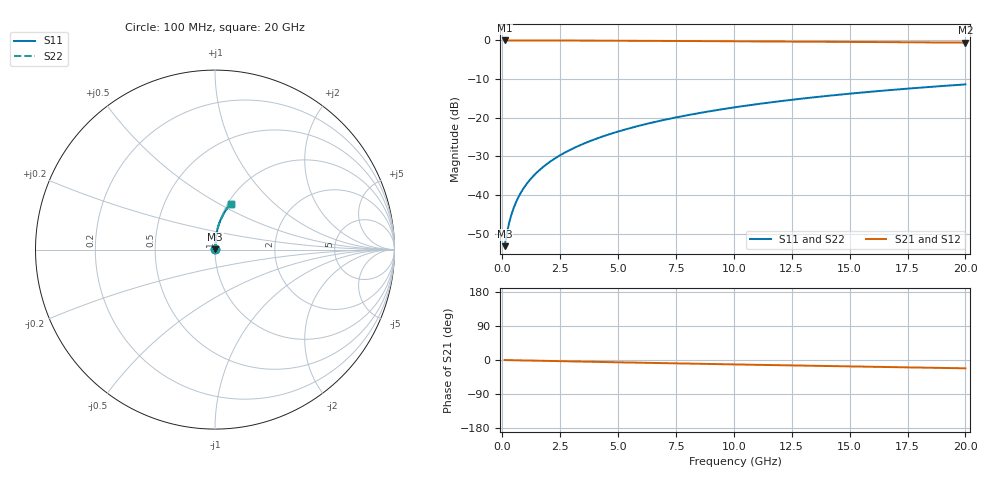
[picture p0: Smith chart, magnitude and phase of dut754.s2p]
! Touchstone file exported from HFSS 2024.1.0
!  File:  C:/UserFiles/LocalFiles/RDL_TSV_Batchsim/temp_RDL_bottom_754_1779859898.aedt
!  Generated:  01:34:24 PM May 27, 2026
!  Design:  RDL_bottom
!  Project:  temp_RDL_bottom_754_1779859898
!  Setup:  Setup1
!  Solution:  Sweep
! Variables:
!  dtsv = 10.80580581um
!  hbump = 3um
!  htsv = 70.56um
!  ldown = 238.83um
!  lrdl = 100um
!  p = 40
!  p1 = 57.18um
!  rhole = 1um
!  t = 450um
!  tdown = 3.18um
!  trdl = 3.915915916um
!  wdown = 17.88um
!  wrdl = 20um
# GHz S MA R 50.000000
! Terminal data exported
! Port[1] = RDL1_T1
! Port[2] = RDL1_T2
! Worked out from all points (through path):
!   200 points, 100 MHz to 20 GHz, reference 50 ohm
!   highest |S21| = -0.01 dB at 100 MHz (marker M1); lowest = -0.6 dB at 20 GHz (marker M2)
!   group delay of S21, straight-line fit = 3.03 ps
!   lowest |S11| = -53.2 dB at 100 MHz (marker M3), VSWR 1.00, Z = 50.2 + j0.137 ohm
!   |S11| at or under -10 dB: start of sweep to end of sweep
!   |S22| runs from -53.2 to -11.4 dB; largest |S21 - S12| = 3.4e-15
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0.1  0.002181 38.8  0.9983 -0.1  0.9983 -0.1  0.002181 38.8
! Gamma 0 0 0 0
! Port Impedance 50 0 50 0
0.2  0.003227 57.3  0.9982 -0.3  0.9982 -0.3  0.003227 57.3
0.3  0.004426 66.1  0.9982 -0.4  0.9982 -0.4  0.004426 66.1
0.4  0.005667 71.0  0.9981 -0.5  0.9981 -0.5  0.005667 71.0
0.5  0.00692 74.1  0.998 -0.6  0.998 -0.6  0.00692 74.1
0.6  0.00818 76.3  0.998 -0.8  0.998 -0.8  0.00818 76.3
0.8  0.01071 79.2  0.9978 -1.0  0.9978 -1.0  0.01071 79.2
1.1  0.01454 81.7  0.9976 -1.4  0.9976 -1.4  0.01454 81.7
1.5  0.01969 83.5  0.9972 -1.9  0.9972 -1.9  0.01969 83.5
1.8  0.02357 84.3  0.9969 -2.2  0.9969 -2.2  0.02357 84.3
2.1  0.02748 84.9  0.9965 -2.6  0.9965 -2.6  0.02748 84.9
2.7  0.03536 85.5  0.9956 -3.3  0.9956 -3.3  0.03536 85.5
3.5  0.04598 85.8  0.994 -4.3  0.994 -4.3  0.04598 85.8
4.2  0.05538 85.8  0.9925 -5.1  0.9925 -5.1  0.05538 85.8
5  0.06625 85.5  0.9904 -6.1  0.9904 -6.1  0.06625 85.5
5.9  0.0786 85.1  0.9879 -7.1  0.9879 -7.1  0.0786 85.1
6.8  0.09107 84.5  0.9852 -8.1  0.9852 -8.1  0.09107 84.5
8.3  0.112 83.3  0.9804 -9.8  0.9804 -9.8  0.112 83.3
10.1  0.1372 81.6  0.9743 -11.8  0.9743 -11.8  0.1372 81.6
13.4  0.1829 78.2  0.9623 -15.3  0.9623 -15.3  0.1829 78.2
16.7  0.2273 74.7  0.9495 -18.7  0.9495 -18.7  0.2273 74.7
20  0.2697 71.2  0.9357 -22.0  0.9357 -22.0  0.2697 71.2
